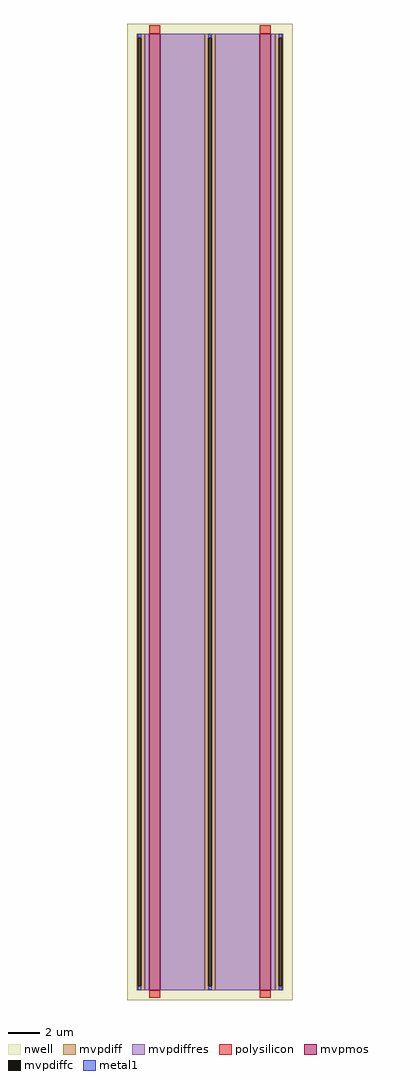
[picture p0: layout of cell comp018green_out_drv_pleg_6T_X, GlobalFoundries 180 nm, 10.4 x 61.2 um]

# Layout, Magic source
magic
tech gf180mcuD
magscale 1 5
use pmos_6p0_esd  pmos_6p0_esd_0
transform -1 0 1040 0 1 0
box 0 6 598 6126
use pmos_6p0_esd  pmos_6p0_esd_1
transform 1 0 0 0 1 0
box 0 6 598 6126
<< properties >>
string GDS_END 11168650
string GDS_FILE $PDKPATH/libs.ref/gf180mcu_ocd_io/gds/gf180mcu_ocd_io.gds
string GDS_START 11168502
<< end >>

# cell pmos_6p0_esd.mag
magic
tech gf180mcuD
magscale 1 10
<< nwell >>
rect 0 12 1196 12252
<< mvpmos >>
rect 278 132 418 12132
<< mvpdiff >>
rect 120 12077 222 12132
rect 120 187 133 12077
rect 179 187 222 12077
rect 120 132 222 187
rect 974 12077 1076 12132
rect 974 187 1017 12077
rect 1063 187 1076 12077
rect 974 132 1076 187
<< mvpdiffc >>
rect 133 187 179 12077
rect 1017 187 1063 12077
<< polysilicon >>
rect 278 12132 418 12238
rect 278 42 418 132
<< mvpdiffres >>
rect 222 132 278 12132
rect 418 132 974 12132
<< metal1 >>
rect 133 12077 179 12132
rect 133 132 179 187
rect 1017 12077 1063 12132
rect 1017 132 1063 187
<< properties >>
string GDS_END 11168440
string GDS_FILE $PDKPATH/libs.ref/gf180mcu_ocd_io/gds/gf180mcu_ocd_io.gds
string GDS_START 11151156
<< end >>
